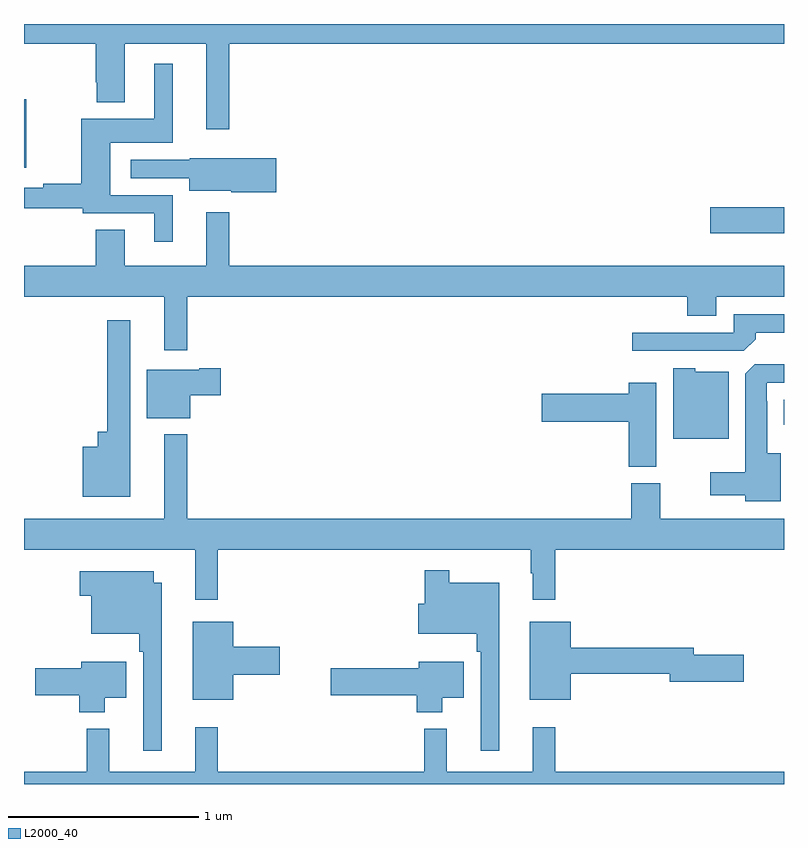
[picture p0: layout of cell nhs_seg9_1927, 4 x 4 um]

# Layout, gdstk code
import gdstk
lib = gdstk.Library(unit=1e-6, precision=1e-09)
def R(c, l, rs):  # rectangles x0, y0, x1, y1
    for r in rs: c.add(gdstk.rectangle(r[:2], r[2:], *l))
def P(c, l, *ps):  # polygons
    for p in ps: c.add(gdstk.Polygon(p, *l))
L2000_40 = (2000, 40)

nhs_seg9_1927 = lib.new_cell('nhs_seg9_1927')
R(nhs_seg9_1927, L2000_40, [(222.998,1218.392,223,1218.523), (222.612,1219.4,223,1219.535), (219,1219.743,219.012,1220.103)])
P(nhs_seg9_1927, L2000_40, [(220.081,1220.396),(223,1220.396),(223,1220.5),(219,1220.5),(219,1220.396),(219.377,1220.396),(219.377,1220.194),(219.382,1220.194),(219.382,1220.087),(219.529,1220.087),(219.529,1220.396),(219.959,1220.396),(219.959,1219.947),(220.081,1219.947)],
  [(219.784,1219.599),(219.454,1219.599),(219.454,1219.874),(219.784,1219.874),(219.784,1220.29),(219.686,1220.29),(219.686,1220.002),(219.301,1220.002),(219.301,1219.658),(219.1,1219.658),(219.1,1219.638),(219,1219.638),(219,1219.53),(219.308,1219.53),(219.308,1219.503),(219.686,1219.503),(219.686,1219.353),(219.784,1219.353)],
  [(220.327,1219.793),(219.873,1219.793),(219.873,1219.785),(219.561,1219.785),(219.561,1219.689),(219.869,1219.689),(219.869,1219.622),(220.092,1219.622),(220.092,1219.615),(220.327,1219.615)],
  [(219.859,1219.064),(222.491,1219.064),(222.491,1218.965),(222.643,1218.965),(222.643,1219.064),(223,1219.064),(223,1219.228),(220.081,1219.228),(220.081,1219.51),(219.959,1219.51),(219.959,1219.228),(219.529,1219.228),(219.529,1219.418),(219.377,1219.418),(219.377,1219.228),(219,1219.228),(219,1219.064),(219.737,1219.064),(219.737,1218.783),(219.859,1218.783)],
  [(222.851,1218.842),(222.851,1218.876),(223,1218.876),(223,1218.972),(222.735,1218.972),(222.735,1218.876),(222.201,1218.876),(222.201,1218.78),(222.789,1218.78)],
  [(219.559,1218.94),(219.438,1218.94),(219.438,1218.355),(219.389,1218.355),(219.389,1218.274),(219.308,1218.274),(219.308,1218.011),(219.559,1218.011)],
  [(222.982,1218.241),(222.913,1218.241),(222.913,1218.515),(222.909,1218.515),(222.909,1218.612),(223,1218.612),(223,1218.708),(222.846,1218.708),(222.797,1218.659),(222.797,1218.142),(222.612,1218.142),(222.612,1218.02),(222.797,1218.02),(222.797,1217.987),(222.982,1217.987)],
  [(222.709,1218.67),(222.534,1218.67),(222.534,1218.688),(222.416,1218.688),(222.416,1218.317),(222.709,1218.317)],
  [(219.874,1218.545),(220.036,1218.545),(220.036,1218.687),(219.923,1218.687),(219.923,1218.679),(219.647,1218.679),(219.647,1218.425),(219.874,1218.425)],
  [(222.328,1218.613),(222.182,1218.613),(222.182,1218.554),(221.724,1218.554),(221.724,1218.407),(222.182,1218.407),(222.182,1218.169),(222.328,1218.169)],
  [(220.019,1217.732),(221.667,1217.732),(221.667,1217.609),(221.678,1217.609),(221.678,1217.469),(221.795,1217.469),(221.795,1217.732),(223,1217.732),(223,1217.896),(222.349,1217.896),(222.349,1218.084),(222.197,1218.084),(222.197,1217.896),(219.859,1217.896),(219.859,1218.34),(219.737,1218.34),(219.737,1217.896),(219,1217.896),(219,1217.732),(219.901,1217.732),(219.901,1217.469),(220.019,1217.469)],
  [(221.5,1217.56),(221.239,1217.56),(221.239,1217.626),(221.11,1217.626),(221.11,1217.449),(221.076,1217.449),(221.076,1217.291),(221.383,1217.291),(221.383,1217.195),(221.403,1217.195),(221.403,1216.674),(221.5,1216.674)],
  [(219.724,1217.56),(219.682,1217.56),(219.682,1217.62),(219.294,1217.62),(219.294,1217.491),(219.353,1217.491),(219.353,1217.291),(219.607,1217.291),(219.607,1217.195),(219.627,1217.195),(219.627,1216.674),(219.724,1216.674)],
  [(220.102,1217.075),(220.345,1217.075),(220.345,1217.222),(220.102,1217.222),(220.102,1217.353),(219.887,1217.353),(219.887,1216.943),(220.102,1216.943)],
  [(221.878,1217.08),(222.398,1217.08),(222.398,1217.038),(222.787,1217.038),(222.787,1217.18),(222.526,1217.18),(222.526,1217.216),(221.878,1217.216),(221.878,1217.353),(221.663,1217.353),(221.663,1216.943),(221.878,1216.943)],
  [(221.2,1216.955),(221.314,1216.955),(221.314,1217.143),(221.078,1217.143),(221.078,1217.108),(220.614,1217.108),(220.614,1216.966),(221.066,1216.966),(221.066,1216.877),(221.2,1216.877)],
  [(219.424,1216.955),(219.538,1216.955),(219.538,1217.143),(219.302,1217.143),(219.302,1217.108),(219.06,1217.108),(219.06,1216.966),(219.29,1216.966),(219.29,1216.877),(219.424,1216.877)],
  [(223,1216.564),(221.795,1216.564),(221.795,1216.798),(221.678,1216.798),(221.678,1216.564),(221.225,1216.564),(221.225,1216.792),(221.107,1216.792),(221.107,1216.564),(220.019,1216.564),(220.019,1216.798),(219.902,1216.798),(219.902,1216.564),(219.449,1216.564),(219.449,1216.792),(219.331,1216.792),(219.331,1216.564),(219,1216.564),(219,1216.5),(223,1216.5)])

lib.write_gds('nhs_seg9_1927.gds')
